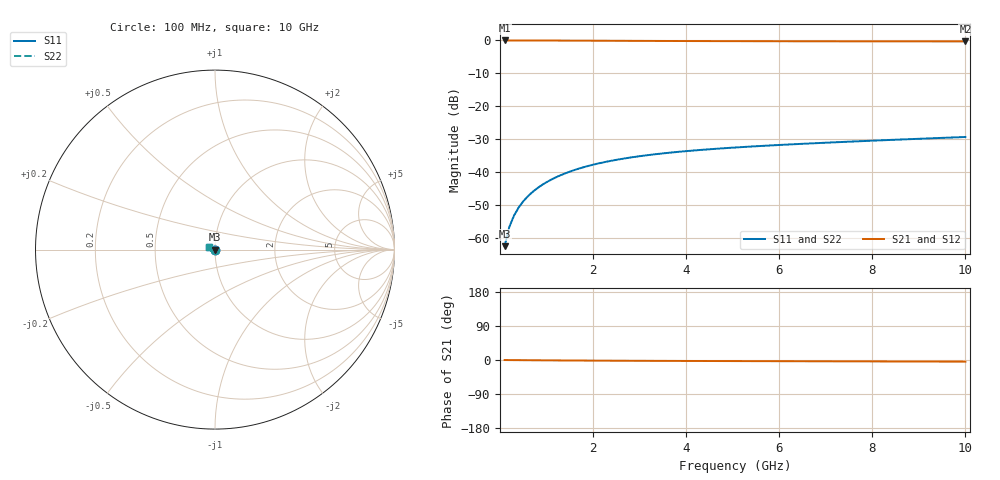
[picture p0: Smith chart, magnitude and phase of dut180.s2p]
! Touchstone file exported from HFSS 2024.1.0
!  File:  C:/UserFiles/LocalFiles/RDL_TSV_Batchsim/temp_TSV1_180_1779384102.aedt
!  Generated:  01:28:17 AM May 22, 2026
!  Design:  TSV1
!  Project:  temp_TSV1_180_1779384102
!  Setup:  Setup1
!  Solution:  Sweep
! Variables:
!  dtsv = 7.96um
!  hbump = 3um
!  htsv = 62.96um
!  lrdl = 252.1521522um
!  p = 40
!  p1 = 53.84um
!  t = 500um
!  trdl = 3um
!  wrdl = 24.89489489um
# GHz S MA R 50.000000
! Terminal data exported
! Port[1] = TSV22_T1
! Port[2] = TSV22_T2
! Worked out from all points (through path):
!   100 points, 100 MHz to 10 GHz, reference 50 ohm
!   highest |S21| = 0.00 dB at 100 MHz (marker M1); lowest = -0.3 dB at 10 GHz (marker M2)
!   lowest |S11| = -62.5 dB at 100 MHz (marker M3), VSWR 1.00, Z = 50 - j0.0726 ohm
!   |S11| at or under -10 dB: start of sweep to end of sweep
!   |S22| runs from -62.5 to -29.4 dB; largest |S21 - S12| = 3.1e-15
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0.1  0.0007459 -76.8  0.9998 -0.1  0.9998 -0.1  0.0007459 -76.8
! Gamma 0 0 0 0
! Port Impedance 50 0 50 0
0.2  0.001451 -86.6  0.9997 -0.2  0.9997 -0.2  0.001451 -86.6
0.3  0.002162 -91.4  0.9995 -0.3  0.9995 -0.3  0.002162 -91.4
0.4  0.002871 -94.8  0.9993 -0.4  0.9993 -0.4  0.002871 -94.8
0.5  0.003577 -97.8  0.9991 -0.5  0.9991 -0.5  0.003577 -97.8
0.6  0.004278 -100.5  0.9988 -0.6  0.9988 -0.6  0.004278 -100.5
0.7  0.004971 -103.0  0.9984 -0.7  0.9984 -0.7  0.004971 -103.0
0.8  0.005656 -105.3  0.998 -0.7  0.998 -0.7  0.005656 -105.3
0.9  0.006332 -107.6  0.9976 -0.8  0.9976 -0.8  0.006332 -107.6
1.1  0.00765 -112.0  0.9966 -1.0  0.9966 -1.0  0.00765 -112.0
1.4  0.009531 -118.2  0.9949 -1.2  0.9949 -1.2  0.009531 -118.2
1.6  0.01072 -122.2  0.9937 -1.4  0.9937 -1.4  0.01072 -122.2
1.8  0.01184 -126.0  0.9924 -1.5  0.9924 -1.5  0.01184 -126.0
2.1  0.01341 -131.4  0.9905 -1.7  0.9905 -1.7  0.01341 -131.4
2.5  0.01531 -138.1  0.9879 -1.9  0.9879 -1.9  0.01531 -138.1
2.9  0.017 -144.3  0.9855 -2.1  0.9855 -2.1  0.017 -144.3
3.4  0.01884 -151.4  0.9827 -2.3  0.9827 -2.3  0.01884 -151.4
4.2  0.02134 -161.5  0.9788 -2.6  0.9788 -2.6  0.02134 -161.5
5.1  0.02369 -171.2  0.9754 -2.9  0.9754 -2.9  0.02369 -171.2
6.7  0.02726 174.9  0.9711 -3.3  0.9711 -3.3  0.02726 174.9
8.4  0.03076 163.2  0.9682 -3.8  0.9682 -3.8  0.03076 163.2
10  0.03408 154.3  0.9662 -4.3  0.9662 -4.3  0.03408 154.3
